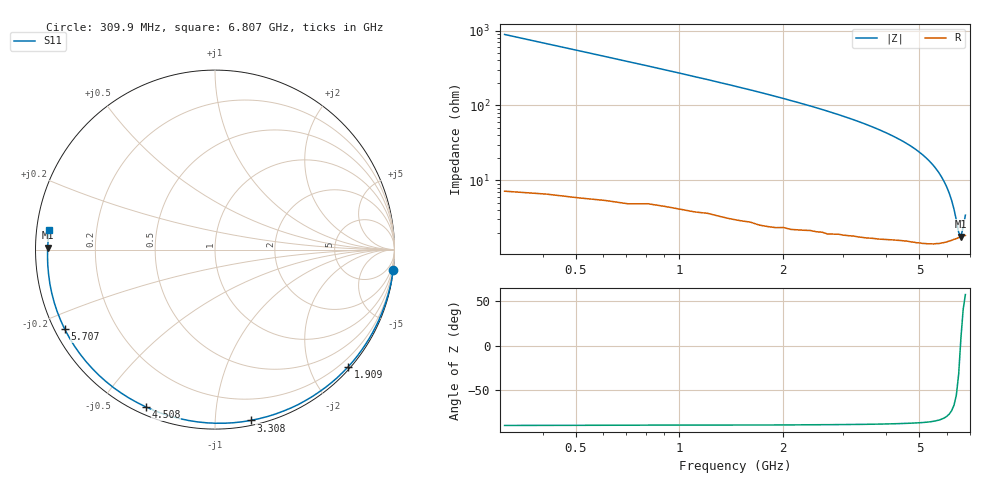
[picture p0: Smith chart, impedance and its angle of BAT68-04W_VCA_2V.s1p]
! Infineon Technologies  Discrete & RF Semiconductors
! BAT68-04W
! VCA = 2 V
! One-Port S-Parameters
# Hz  S  MA  R  50
!f  S11
!Hz  Mag  Ang
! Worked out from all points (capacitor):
!   66 points, 309.9 MHz to 6.807 GHz, reference 50 ohm
!   read as one part to ground: C = 576 fF near 309.9 MHz
!   lowest |Z| = 1.77 ohm at 6.607 GHz (marker M1)
!   series resonance near 6.586 GHz, so ESL is about 1 nH
!   S11 on the Smith chart (normalised r, x): 309.9 MHz: 0, -18; 1.909 GHz: 0.05, -2.64; 3.308 GHz: 0.04, -1.23; 4.508 GHz: 0.03, -0.65; 5.707 GHz: 0.03, -0.25; 6.807 GHz: 0.04, +0.06
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3.0985e8  0.9991 -6.4
7.0965e8  0.9968 -14.8
1.0095e9  0.9945 -21.1
1.2094e9  0.993 -25.4
1.6092e9  0.9904 -34.4
1.90905e9  0.9884 -41.5
2.009e9  0.987 -43.9
2.4088e9  0.9826 -53.9
2.8086e9  0.9785 -64.5
3.10845e9  0.9748 -72.6
3.30835e9  0.9724 -78.2
3.6082e9  0.9687 -86.8
3.8081e9  0.9663 -92.7
4.008e9  0.9635 -98.7
4.2079e9  0.9608 -104.7
4.4078e9  0.9584 -110.7
4.50775e9  0.9574 -113.8
4.70765e9  0.9558 -120.0
4.90755e9  0.9545 -126.3
5.2074e9  0.9522 -135.8
5.4073e9  0.9506 -142.3
5.70715e9  0.9476 -152.1
5.90705e9  0.9447 -158.6
6.007e9  0.943 -161.8
6.2069e9  0.9395 -168.2
6.30685e9  0.9374 -171.4
6.6067e9  0.9324 179.4
6.8066e9  0.9296 173.4
